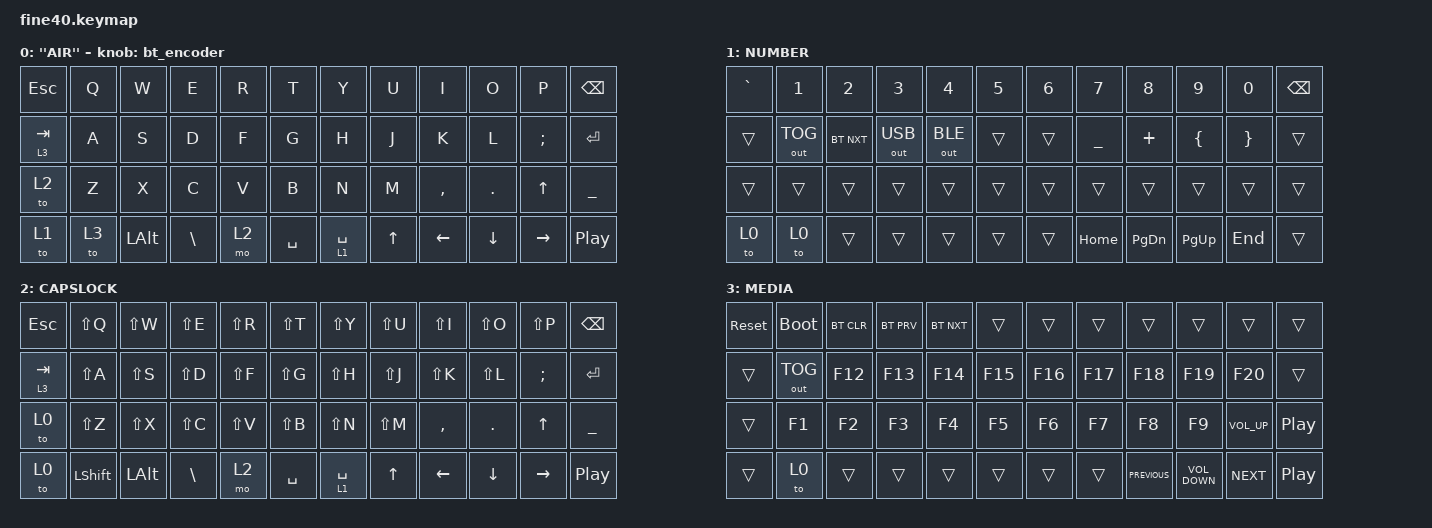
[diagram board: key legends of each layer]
/*
 * Aidan Smith (2021)
 *
 * SPDX-License-Identifier: MIT
 */

#include <behaviors.dtsi>
#include <dt-bindings/zmk/keys.h>
#include <dt-bindings/zmk/bt.h>
#include <dt-bindings/zmk/ext_power.h>
#include <dt-bindings/zmk/outputs.h>

/ {
behaviors {
        bt_encoder: bt_encoder {
            compatible = "zmk,behavior-sensor-rotate";
            label = "BT_ENCODER";
            #sensor-binding-cells = <0>;
            bindings = <&bt BT_NXT>, <&bt BT_PRV>;
        };
    };
keymap {
		compatible = "zmk,keymap";

		default_layer {
			label = "''AIR''";
			bindings = <
				&kp ESC   &kp Q    &kp W    &kp E    &kp R &kp T     &kp Y       &kp U     &kp I     &kp O     &kp P     &kp BSPC
				&lt 3 TAB &kp A    &kp S    &kp D    &kp F &kp G     &kp H       &kp J     &kp K     &kp L     &kp SEMI  &kp RET
				&to 2 &kp Z    &kp X    &kp C    &kp V &kp B     &kp N       &kp M     &kp COMMA &kp DOT   &kp UP  &kp UNDER
				&to 1 &to 3 &kp LALT &kp BSLH &mo 2 &kp SPACE &lt 1 SPACE &kp UP  &kp LEFT    &kp DOWN  &kp RIGHT &kp C_PP
			>;

			 sensor-bindings = <&bt_encoder>;
		};

		right {
			label = "NUMBER";
			bindings = <
				&kp GRAVE &kp N1 &kp N2 &kp N3 &kp N4 &kp N5 &kp N6 &kp N7    &kp N8    &kp N9    &kp N0   &kp BSPC
				&trans    &out OUT_TOG &bt BT_NXT &out OUT_USB &out OUT_BLE &trans &trans &kp UNDER &kp PLUS  &kp LBRC  &kp RBRC &trans
				&trans    &trans &trans &trans &trans &trans &trans &trans    &trans    &trans    &trans   &trans
				&to 0    &to 0 &trans &trans &trans &trans &trans &kp HOME  &kp PG_DN &kp PG_UP &kp END  &trans
			>;
		};

		left {
			label = "CAPSLOCK";
			bindings = <
				&kp ESC   &kp LS(Q)    &kp LS(W)    &kp LS(E)    &kp LS(R) &kp LS(T)     &kp LS(Y)       &kp LS(U)     &kp LS(I)     &kp LS(O)     &kp LS(P)     &kp BSPC
				&lt 3 TAB &kp LS(A)    &kp LS(S)    &kp LS(D)    &kp LS(F) &kp LS(G)     &kp LS(H)       &kp LS(J)     &kp LS(K)     &kp LS(L)     &kp SEMI  &kp RET
				&to 0 &kp LS(Z)    &kp LS(X)    &kp LS(C)    &kp LS(V) &kp LS(B)     &kp LS(N)       &kp LS(M)     &kp COMMA &kp DOT   &kp UP  &kp UNDER
				&to 0 &kp LSHFT &kp LALT &kp BSLH &mo 2 &kp SPACE &lt 1 SPACE &kp UP  &kp LEFT    &kp DOWN  &kp RIGHT &kp C_PP
			>;
		};

		control {
			label = "MEDIA";
			bindings = <
				&sys_reset &bootloader &bt BT_CLR &bt BT_PRV &bt BT_NXT &trans  &trans  &trans  &trans  &trans  &trans  &trans
				&trans     &out OUT_TOG     &kp F12    &kp F13    &kp F14    &kp F15 &kp F16 &kp F17 &kp F18 &kp F19 &kp F20 &trans
				&trans     &kp F1      &kp F2     &kp F3     &kp F4     &kp F5  &kp F6  &kp F7  &kp F8  &kp F9  &kp C_VOLUME_UP &kp C_PP
				&trans     &to 0      &trans     &trans     &trans     &trans  &trans  &trans  &kp C_PREVIOUS  &kp C_VOLUME_DOWN  &kp C_NEXT  &kp C_PP
			>;
		};
	};
};
